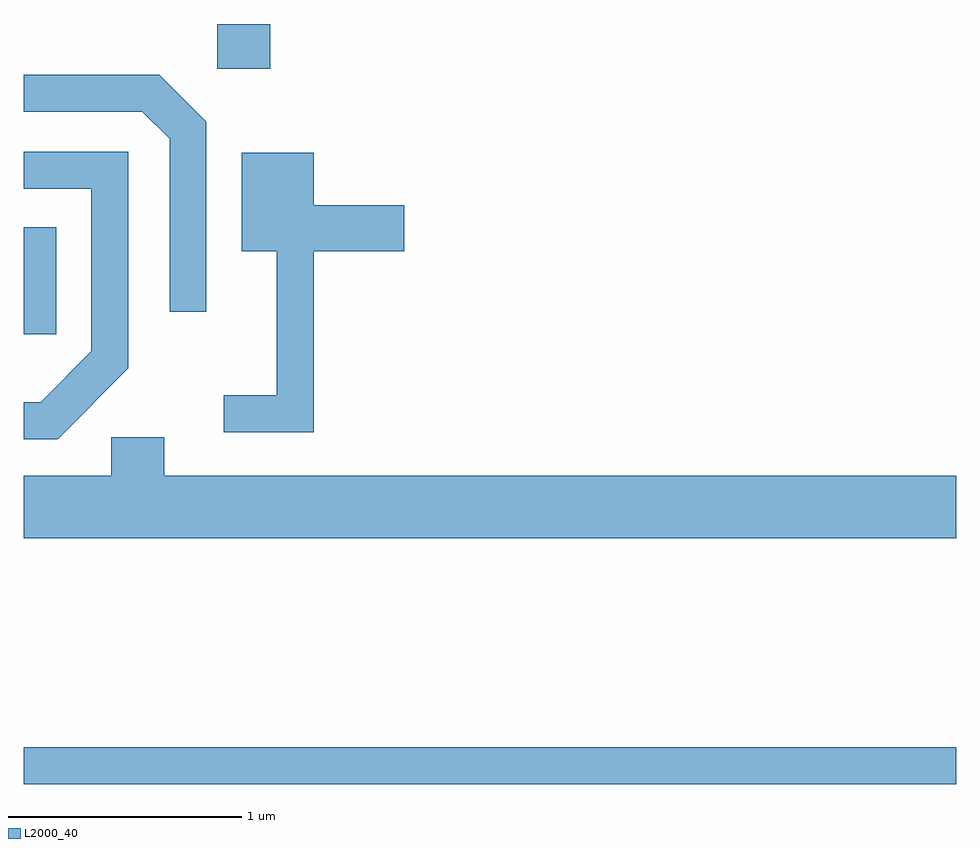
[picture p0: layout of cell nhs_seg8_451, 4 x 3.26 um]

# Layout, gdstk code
import gdstk
lib = gdstk.Library(unit=1e-6, precision=1e-09)
def R(c, l, rs):  # rectangles x0, y0, x1, y1
    for r in rs: c.add(gdstk.rectangle(r[:2], r[2:], *l))
def P(c, l, *ps):  # polygons
    for p in ps: c.add(gdstk.Polygon(p, *l))
L2000_40 = (2000, 40)

nhs_seg8_451 = lib.new_cell('nhs_seg8_451')
R(nhs_seg8_451, L2000_40, [(197.611,1893.081,201.611,1893.239), (197.611,1895.011,197.749,1895.469), (198.441,1896.151,198.669,1896.342)])
P(nhs_seg8_451, L2000_40, [(198.394,1895.922),(198.192,1896.124),(197.611,1896.124),(197.611,1895.966),(198.119,1895.966),(198.236,1895.849),(198.236,1895.108),(198.394,1895.108)],
  [(198.059,1894.864),(198.059,1895.794),(197.611,1895.794),(197.611,1895.636),(197.901,1895.636),(197.901,1894.937),(197.684,1894.719),(197.611,1894.719),(197.611,1894.561),(197.757,1894.561)],
  [(198.854,1895.366),(199.244,1895.366),(199.244,1895.564),(198.854,1895.564),(198.854,1895.789),(198.546,1895.789),(198.546,1895.366),(198.696,1895.366),(198.696,1894.749),(198.468,1894.749),(198.468,1894.591),(198.854,1894.591)],
  [(201.611,1894.404),(198.214,1894.404),(198.214,1894.569),(197.986,1894.569),(197.986,1894.404),(197.611,1894.404),(197.611,1894.136),(201.611,1894.136)])

lib.write_gds('nhs_seg8_451.gds')
